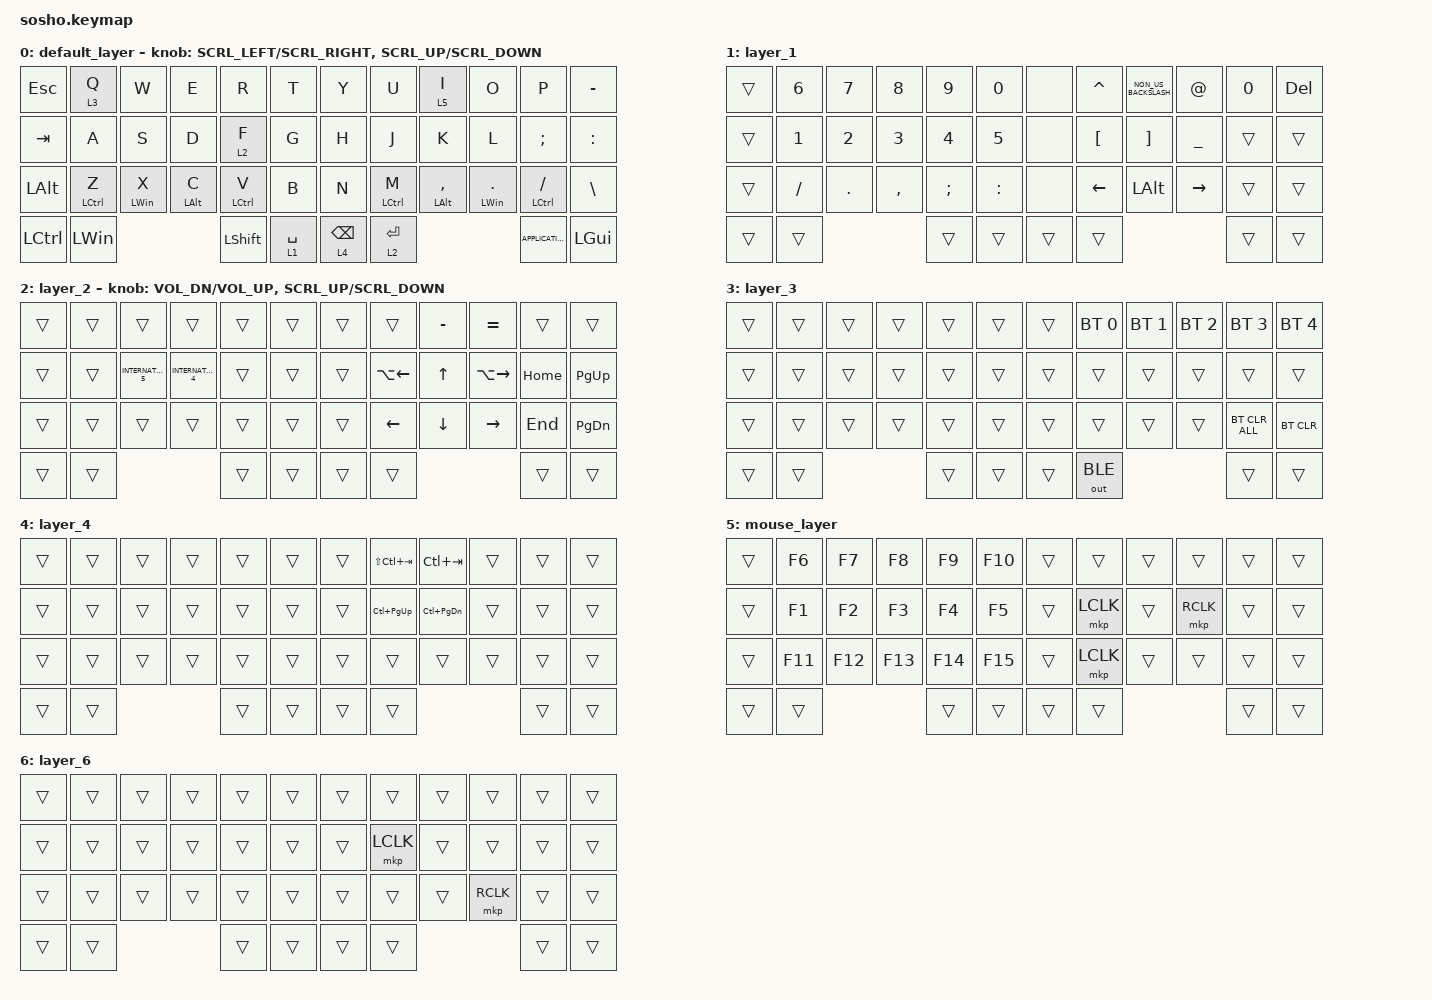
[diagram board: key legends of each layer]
//スクロール量の調整(デフォルト150)

#define ZMK_POINTING_DEFAULT_SCRL_VAL 150

#include <input/processors.dtsi>
#include <behaviors.dtsi>
#include <dt-bindings/zmk/bt.h>
#include <dt-bindings/zmk/keys.h>
#include <dt-bindings/zmk/outputs.h>
#include <dt-bindings/zmk/pointing.h>

//スクロールの調整

&msc {
    time-to-max-speed-ms = <0>;   // 即座に最大速度（加速なし）
    acceleration-exponent = <0>;   // 加速なし
};

&mkp_input_listener {
    // マウスクリックしてから0.5秒延長
    //input-processors = <&zip_temp_layer 5 500>;
};

&lt {
    tapping-term-ms = <250>;
    quick-tap-ms = <200>;
    require-prior-idle-ms = <125>;
};

&mt {
    tapping-term-ms = <300>;
    quick-tap-ms = <200>;
    require-prior-idle-ms = <175>;
};

/ {
    behaviors {
        //エンコーダにスクロールを割り当てるためのビヘイビア

        msc_ec_l: sensor_rotation_scroll_L {
            compatible = "zmk,behavior-sensor-rotate-var";
            #sensor-binding-cells = <2>;
            bindings = <&msc>, <&msc>;

            tap-ms = <20>;
        };

        msc_ec_r: sensor_rotation_scroll_R {
            compatible = "zmk,behavior-sensor-rotate-var";
            #sensor-binding-cells = <2>;
            bindings = <&msc>, <&msc>;

            tap-ms = <20>;
        };
    };

    //    combos {
    //        compatible = "zmk,combos";
    //
    //        //左クリックのコンボ 19はJのキー 20はKのキーに相当します。
    //
    //        combo_LCLK {
    //            timeout-ms = <50>;
    //            key-positions = <19 7>;
    //            bindings = <&mkp LCLK>;
    //        };
    //
    //        //右クリックのコンボ 20 K 21 L
    //
    //        combo_RCLK {
    //            timeout-ms = <50>;
    //            key-positions = <21 9>;
    //            bindings = <&mkp RCLK>;
    //        };
    //
    //        //ホイールクリックのコンボ 19 J 21 L
    //
    //        combo_MCLK {
    //            timeout-ms = <90>;
    //            key-positions = <20 8>;
    //            bindings = <&mkp MCLK>;
    //        };
    //    };

    combos {
        compatible = "zmk,combos";

        minus {
            bindings = <&kp MINUS>;
            key-positions = <10 22>;
        };

        tab {
            bindings = <&kp TAB>;
            key-positions = <1 13>;
        };
    };

    keymap {
        compatible = "zmk,keymap";

        default_layer {
            bindings = <
&kp ESC       &lt 3 Q             &kp W           &kp E           &kp R               &kp T        &kp Y            &kp U               &lt 5 I             &kp O                &kp P                   &kp MINUS
&kp TAB       &kp A               &kp S           &kp D           &lt 2 F             &kp G        &kp H            &kp J               &kp K               &kp L                &kp SEMI                &kp COLON
&kp LEFT_ALT  &mt LEFT_CONTROL Z  &mt LEFT_WIN X  &mt LEFT_ALT C  &mt LEFT_CONTROL V  &kp B        &kp N            &mt LEFT_CONTROL M  &mt LEFT_ALT COMMA  &mt LEFT_WIN PERIOD  &mt LEFT_CONTROL SLASH  &kp BACKSLASH
&kp LCTRL     &kp LEFT_WIN                                        &kp LEFT_SHIFT      &lt 1 SPACE  &lt 4 BACKSPACE  &lt 2 ENTER                                                  &kp K_APPLICATION       &kp LGUI
            >;

            //&msc_ec_lとrは、上のビヘイビアで作ったもの。

            sensor-bindings = <&msc_ec_l SCRL_LEFT SCRL_RIGHT &msc_ec_r SCRL_UP SCRL_DOWN>;
        };

        layer_1 {
            bindings = <
&trans  &kp NUMBER_6  &kp N7        &kp N8        &kp N9         &kp N0     &none   &kp CARET         &kp NON_US_BACKSLASH  &kp AT_SIGN     &kp N0  &kp DEL
&trans  &kp NUMBER_1  &kp NUMBER_2  &kp NUMBER_3  &kp NUMBER_4   &kp N5     &none   &kp LEFT_BRACKET  &kp RIGHT_BRACKET     &kp UNDERSCORE  &trans  &trans
&trans  &kp SLASH     &kp PERIOD    &kp COMMA     &kp SEMICOLON  &kp COLON  &none   &kp LEFT          &kp LEFT_ALT          &kp RIGHT       &trans  &trans
&trans  &trans                                    &trans         &trans     &trans  &trans                                                  &trans  &trans
            >;
        };

        layer_2 {
            bindings = <
&trans  &trans  &trans               &trans               &trans  &trans &trans  &trans              &kp MINUS       &kp EQUAL            &trans    &trans
&trans  &trans  &kp INTERNATIONAL_5  &kp INTERNATIONAL_4  &trans  &trans &trans  &kp LA(LEFT_ARROW)  &kp UP_ARROW    &kp LA(RIGHT_ARROW)  &kp HOME  &kp PAGE_UP
&trans  &trans  &trans               &trans               &trans  &trans &trans  &kp LEFT_ARROW      &kp DOWN_ARROW  &kp RIGHT_ARROW      &kp END   &kp PAGE_DOWN
&trans  &trans                                            &trans  &trans &trans  &trans                                                   &trans    &trans
            >;

            //レイヤー2のときだけ、左手のエンコーダを回すとボリュームの上下ができるようになっています。

            sensor-bindings = <&inc_dec_kp C_VOL_DN C_VOL_UP &msc_ec_r SCRL_UP SCRL_DOWN>;
        };

        layer_3 {
            bindings = <
&trans  &trans  &trans  &trans  &trans  &trans  &trans  &bt BT_SEL 0  &bt BT_SEL 1  &bt BT_SEL 2  &bt BT_SEL 3    &bt BT_SEL 4
&trans  &trans  &trans  &trans  &trans  &trans  &trans  &trans        &trans        &trans        &trans          &trans
&trans  &trans  &trans  &trans  &trans  &trans  &trans  &trans        &trans        &trans        &bt BT_CLR_ALL  &bt BT_CLR
&trans  &trans                  &trans  &trans  &trans  &out OUT_BLE                              &trans          &trans
            >;
        };

        layer_4 {
            bindings = <
&trans  &trans  &trans  &trans  &trans  &trans  &trans  &kp LS(LC(TAB))  &kp LC(TAB)        &trans  &trans  &trans
&trans  &trans  &trans  &trans  &trans  &trans  &trans  &kp LC(PAGE_UP)  &kp LC(PAGE_DOWN)  &trans  &trans  &trans
&trans  &trans  &trans  &trans  &trans  &trans  &trans  &trans           &trans             &trans  &trans  &trans
&trans  &trans                  &trans  &trans  &trans  &trans                                      &trans  &trans
            >;
        };

        mouse_layer {
            bindings = <
&trans  &kp F6   &kp F7   &kp F8   &kp F9   &kp F10  &trans  &trans     &trans  &trans     &trans  &trans
&trans  &kp F1   &kp F2   &kp F3   &kp F4   &kp F5   &trans  &mkp LCLK  &trans  &mkp RCLK  &trans  &trans
&trans  &kp F11  &kp F12  &kp F13  &kp F14  &kp F15  &trans  &mkp LCLK  &trans  &trans     &trans  &trans
&trans  &trans                     &trans   &trans   &trans  &trans                        &trans  &trans
            >;
        };

        layer_6 {
            bindings = <
&trans  &trans  &trans  &trans  &trans  &trans  &trans  &trans     &trans  &trans     &trans  &trans
&trans  &trans  &trans  &trans  &trans  &trans  &trans  &mkp LCLK  &trans  &trans     &trans  &trans
&trans  &trans  &trans  &trans  &trans  &trans  &trans  &trans     &trans  &mkp RCLK  &trans  &trans
&trans  &trans                  &trans  &trans  &trans  &trans                        &trans  &trans
            >;
        };

        //scroll { status = "reserved"; };
        //extra2 { status = "reserved"; };
    };
};
